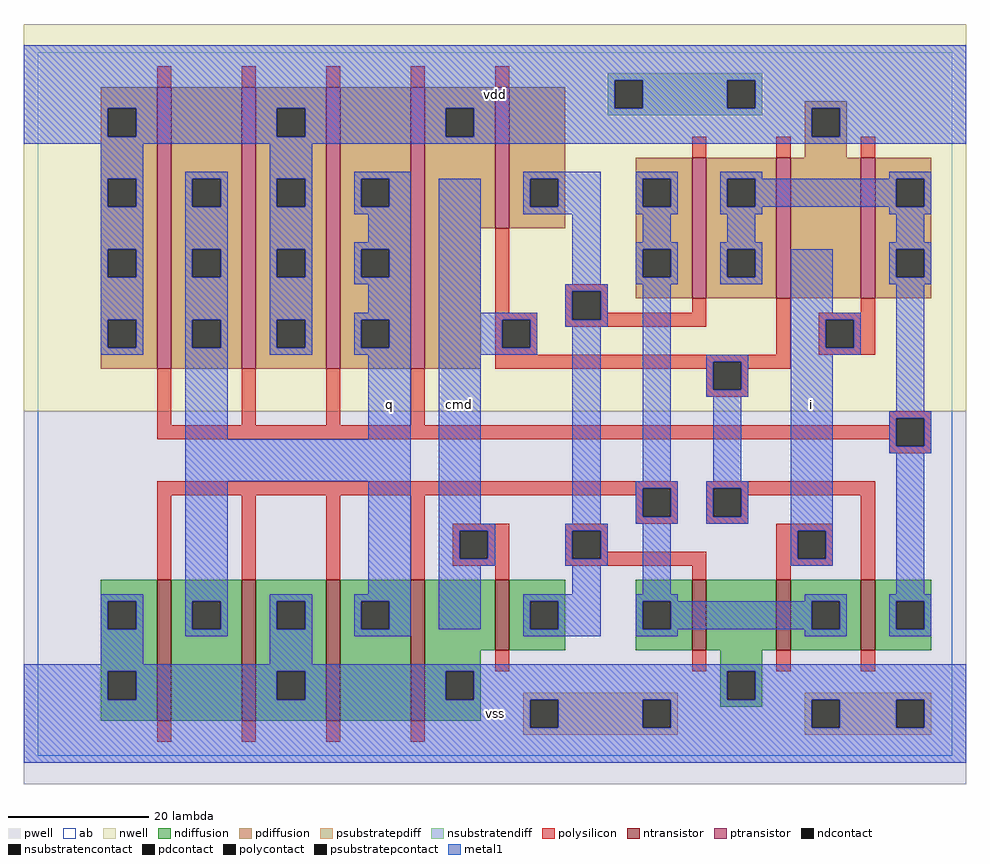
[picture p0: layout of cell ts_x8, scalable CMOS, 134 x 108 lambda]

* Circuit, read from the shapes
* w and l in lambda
.subckt ts_x8 cmd i q vdd vss
M1 q n1 vss vss nfet w=20 l=2 m=4
M2 n2 cmd vss vss nfet w=10 l=2
M3 vss n2 n1 vss nfet w=10 l=2
M4 n1 i vss vss nfet w=10 l=2
M5 n3 cmd n1 vss nfet w=10 l=2
M6 q n3 vdd vdd pfet w=40 l=2 m=4
M7 n2 cmd vdd vdd pfet w=20 l=2
M8 n3 n2 n1 vdd pfet w=20 l=2
M9 vdd cmd n3 vdd pfet w=20 l=2
M10 n3 i vdd vdd pfet w=20 l=2
.ends

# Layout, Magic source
magic
tech scmos
<< ab >>
rect 0 0 130 100
<< pwell >>
rect -2 -4 132 49
<< nwell >>
rect -2 49 132 104
<< polysilicon >>
rect 17 95 19 98
rect 29 95 31 98
rect 41 95 43 98
rect 53 95 55 98
rect 65 95 67 98
rect 93 85 95 88
rect 105 85 107 88
rect 117 85 119 88
rect 65 63 67 75
rect 75 66 81 67
rect 65 62 71 63
rect 65 58 66 62
rect 70 58 71 62
rect 75 62 76 66
rect 80 63 81 66
rect 93 63 95 65
rect 80 62 95 63
rect 75 61 95 62
rect 65 57 71 58
rect 105 57 107 65
rect 117 63 119 65
rect 111 62 119 63
rect 111 58 112 62
rect 116 58 119 62
rect 111 57 119 58
rect 65 56 107 57
rect 65 55 96 56
rect 17 47 19 55
rect 29 47 31 55
rect 41 47 43 55
rect 53 47 55 55
rect 95 52 96 55
rect 100 55 107 56
rect 100 52 101 55
rect 95 51 101 52
rect 121 48 127 49
rect 121 47 122 48
rect 17 45 122 47
rect 121 44 122 45
rect 126 44 127 48
rect 121 43 127 44
rect 17 38 91 39
rect 17 37 86 38
rect 17 25 19 37
rect 29 25 31 37
rect 41 25 43 37
rect 53 25 55 37
rect 85 34 86 37
rect 90 34 91 38
rect 85 33 91 34
rect 95 38 119 39
rect 95 34 96 38
rect 100 37 119 38
rect 100 34 101 37
rect 95 33 101 34
rect 59 32 67 33
rect 59 28 60 32
rect 64 28 67 32
rect 59 27 67 28
rect 75 32 81 33
rect 75 28 76 32
rect 80 29 81 32
rect 105 32 113 33
rect 80 28 95 29
rect 75 27 95 28
rect 65 25 67 27
rect 93 25 95 27
rect 105 28 108 32
rect 112 28 113 32
rect 105 27 113 28
rect 105 25 107 27
rect 117 25 119 37
rect 65 12 67 15
rect 93 12 95 15
rect 105 12 107 15
rect 117 12 119 15
rect 17 2 19 5
rect 29 2 31 5
rect 41 2 43 5
rect 53 2 55 5
<< ndiffusion >>
rect 9 22 17 25
rect 9 18 10 22
rect 14 18 17 22
rect 9 12 17 18
rect 9 8 10 12
rect 14 8 17 12
rect 9 5 17 8
rect 19 22 29 25
rect 19 18 22 22
rect 26 18 29 22
rect 19 5 29 18
rect 31 22 41 25
rect 31 18 34 22
rect 38 18 41 22
rect 31 12 41 18
rect 31 8 34 12
rect 38 8 41 12
rect 31 5 41 8
rect 43 22 53 25
rect 43 18 46 22
rect 50 18 53 22
rect 43 5 53 18
rect 55 15 65 25
rect 67 22 75 25
rect 67 18 70 22
rect 74 18 75 22
rect 67 15 75 18
rect 85 22 93 25
rect 85 18 86 22
rect 90 18 93 22
rect 85 15 93 18
rect 95 15 105 25
rect 107 22 117 25
rect 107 18 110 22
rect 114 18 117 22
rect 107 15 117 18
rect 119 22 127 25
rect 119 18 122 22
rect 126 18 127 22
rect 119 15 127 18
rect 55 12 63 15
rect 97 12 103 15
rect 55 8 58 12
rect 62 8 63 12
rect 55 5 63 8
rect 97 8 98 12
rect 102 8 103 12
rect 97 7 103 8
<< pdiffusion >>
rect 9 92 17 95
rect 9 88 10 92
rect 14 88 17 92
rect 9 82 17 88
rect 9 78 10 82
rect 14 78 17 82
rect 9 72 17 78
rect 9 68 10 72
rect 14 68 17 72
rect 9 62 17 68
rect 9 58 10 62
rect 14 58 17 62
rect 9 55 17 58
rect 19 82 29 95
rect 19 78 22 82
rect 26 78 29 82
rect 19 72 29 78
rect 19 68 22 72
rect 26 68 29 72
rect 19 62 29 68
rect 19 58 22 62
rect 26 58 29 62
rect 19 55 29 58
rect 31 92 41 95
rect 31 88 34 92
rect 38 88 41 92
rect 31 82 41 88
rect 31 78 34 82
rect 38 78 41 82
rect 31 72 41 78
rect 31 68 34 72
rect 38 68 41 72
rect 31 62 41 68
rect 31 58 34 62
rect 38 58 41 62
rect 31 55 41 58
rect 43 82 53 95
rect 43 78 46 82
rect 50 78 53 82
rect 43 72 53 78
rect 43 68 46 72
rect 50 68 53 72
rect 43 62 53 68
rect 43 58 46 62
rect 50 58 53 62
rect 43 55 53 58
rect 55 92 65 95
rect 55 88 58 92
rect 62 88 65 92
rect 55 75 65 88
rect 67 82 75 95
rect 109 92 115 93
rect 109 88 110 92
rect 114 88 115 92
rect 109 85 115 88
rect 67 78 70 82
rect 74 78 75 82
rect 67 75 75 78
rect 85 82 93 85
rect 85 78 86 82
rect 90 78 93 82
rect 55 55 63 75
rect 85 72 93 78
rect 85 68 86 72
rect 90 68 93 72
rect 85 65 93 68
rect 95 82 105 85
rect 95 78 98 82
rect 102 78 105 82
rect 95 72 105 78
rect 95 68 98 72
rect 102 68 105 72
rect 95 65 105 68
rect 107 65 117 85
rect 119 82 127 85
rect 119 78 122 82
rect 126 78 127 82
rect 119 72 127 78
rect 119 68 122 72
rect 126 68 127 72
rect 119 65 127 68
<< metal1 >>
rect -2 96 132 101
rect -2 92 82 96
rect 86 92 98 96
rect 102 92 132 96
rect -2 88 10 92
rect 14 88 34 92
rect 38 88 58 92
rect 62 88 110 92
rect 114 88 132 92
rect -2 87 132 88
rect 9 82 15 87
rect 9 78 10 82
rect 14 78 15 82
rect 9 72 15 78
rect 9 68 10 72
rect 14 68 15 72
rect 9 62 15 68
rect 9 58 10 62
rect 14 58 15 62
rect 9 57 15 58
rect 21 82 27 83
rect 21 78 22 82
rect 26 78 27 82
rect 21 72 27 78
rect 21 68 22 72
rect 26 68 27 72
rect 21 62 27 68
rect 21 58 22 62
rect 26 58 27 62
rect 21 45 27 58
rect 33 82 39 87
rect 33 78 34 82
rect 38 78 39 82
rect 33 72 39 78
rect 45 82 53 83
rect 69 82 80 83
rect 45 78 46 82
rect 50 78 53 82
rect 45 77 53 78
rect 47 73 53 77
rect 33 68 34 72
rect 38 68 39 72
rect 33 62 39 68
rect 45 72 53 73
rect 45 68 46 72
rect 50 68 53 72
rect 45 67 53 68
rect 47 63 53 67
rect 33 58 34 62
rect 38 58 39 62
rect 33 57 39 58
rect 45 62 53 63
rect 45 58 46 62
rect 50 58 53 62
rect 45 57 53 58
rect 47 45 53 57
rect 21 39 53 45
rect 9 22 15 23
rect 9 18 10 22
rect 14 18 15 22
rect 9 13 15 18
rect 21 22 27 39
rect 47 23 53 39
rect 21 18 22 22
rect 26 18 27 22
rect 21 17 27 18
rect 33 22 39 23
rect 33 18 34 22
rect 38 18 39 22
rect 33 13 39 18
rect 45 22 53 23
rect 45 18 46 22
rect 50 18 53 22
rect 57 63 63 82
rect 69 78 70 82
rect 74 78 80 82
rect 69 77 80 78
rect 85 82 91 83
rect 85 78 86 82
rect 90 78 91 82
rect 85 77 91 78
rect 97 82 103 83
rect 121 82 127 83
rect 97 78 98 82
rect 102 78 122 82
rect 126 78 127 82
rect 97 77 103 78
rect 121 77 127 78
rect 76 67 80 77
rect 86 73 90 77
rect 98 73 102 77
rect 122 73 126 77
rect 85 72 91 73
rect 85 68 86 72
rect 90 68 91 72
rect 85 67 91 68
rect 97 72 103 73
rect 121 72 127 73
rect 97 68 98 72
rect 102 68 103 72
rect 97 67 103 68
rect 75 66 81 67
rect 57 62 71 63
rect 57 58 66 62
rect 70 58 71 62
rect 75 62 76 66
rect 80 62 81 66
rect 75 61 81 62
rect 57 57 71 58
rect 57 33 63 57
rect 76 33 80 61
rect 86 39 90 67
rect 107 63 113 72
rect 121 68 122 72
rect 126 68 127 72
rect 121 67 127 68
rect 107 62 117 63
rect 107 58 112 62
rect 116 58 117 62
rect 107 57 117 58
rect 95 56 101 57
rect 95 52 96 56
rect 100 52 101 56
rect 95 51 101 52
rect 96 39 100 51
rect 85 38 91 39
rect 85 34 86 38
rect 90 34 91 38
rect 85 33 91 34
rect 95 38 101 39
rect 95 34 96 38
rect 100 34 101 38
rect 95 33 101 34
rect 57 32 65 33
rect 57 28 60 32
rect 64 28 65 32
rect 57 27 65 28
rect 75 32 81 33
rect 75 28 76 32
rect 80 28 81 32
rect 75 27 81 28
rect 57 18 63 27
rect 76 23 80 27
rect 86 23 90 33
rect 107 32 113 57
rect 122 49 126 67
rect 121 48 127 49
rect 121 44 122 48
rect 126 44 127 48
rect 121 43 127 44
rect 107 28 108 32
rect 112 28 113 32
rect 107 27 113 28
rect 122 23 126 43
rect 69 22 80 23
rect 69 18 70 22
rect 74 18 80 22
rect 45 17 53 18
rect 69 17 80 18
rect 85 22 91 23
rect 109 22 115 23
rect 85 18 86 22
rect 90 18 110 22
rect 114 18 115 22
rect 85 17 91 18
rect 109 17 115 18
rect 121 22 127 23
rect 121 18 122 22
rect 126 18 127 22
rect 121 17 127 18
rect -2 12 132 13
rect -2 8 10 12
rect 14 8 34 12
rect 38 8 58 12
rect 62 8 98 12
rect 102 8 132 12
rect -2 4 70 8
rect 74 4 86 8
rect 90 4 110 8
rect 114 4 122 8
rect 126 4 132 8
rect -2 -1 132 4
<< ntransistor >>
rect 17 5 19 25
rect 29 5 31 25
rect 41 5 43 25
rect 53 5 55 25
rect 65 15 67 25
rect 93 15 95 25
rect 105 15 107 25
rect 117 15 119 25
<< ptransistor >>
rect 17 55 19 95
rect 29 55 31 95
rect 41 55 43 95
rect 53 55 55 95
rect 65 75 67 95
rect 93 65 95 85
rect 105 65 107 85
rect 117 65 119 85
<< polycontact >>
rect 66 58 70 62
rect 76 62 80 66
rect 112 58 116 62
rect 96 52 100 56
rect 122 44 126 48
rect 86 34 90 38
rect 96 34 100 38
rect 60 28 64 32
rect 76 28 80 32
rect 108 28 112 32
<< ndcontact >>
rect 10 18 14 22
rect 10 8 14 12
rect 22 18 26 22
rect 34 18 38 22
rect 34 8 38 12
rect 46 18 50 22
rect 70 18 74 22
rect 86 18 90 22
rect 110 18 114 22
rect 122 18 126 22
rect 58 8 62 12
rect 98 8 102 12
<< pdcontact >>
rect 10 88 14 92
rect 10 78 14 82
rect 10 68 14 72
rect 10 58 14 62
rect 22 78 26 82
rect 22 68 26 72
rect 22 58 26 62
rect 34 88 38 92
rect 34 78 38 82
rect 34 68 38 72
rect 34 58 38 62
rect 46 78 50 82
rect 46 68 50 72
rect 46 58 50 62
rect 58 88 62 92
rect 110 88 114 92
rect 70 78 74 82
rect 86 78 90 82
rect 86 68 90 72
rect 98 78 102 82
rect 98 68 102 72
rect 122 78 126 82
rect 122 68 126 72
<< psubstratepcontact >>
rect 70 4 74 8
rect 86 4 90 8
rect 110 4 114 8
rect 122 4 126 8
<< nsubstratencontact >>
rect 82 92 86 96
rect 98 92 102 96
<< psubstratepdiff >>
rect 69 8 91 9
rect 69 4 70 8
rect 74 4 86 8
rect 90 4 91 8
rect 109 8 127 9
rect 69 3 91 4
rect 109 4 110 8
rect 114 4 122 8
rect 126 4 127 8
rect 109 3 127 4
<< nsubstratendiff >>
rect 81 96 103 97
rect 81 92 82 96
rect 86 92 98 96
rect 102 92 103 96
rect 81 91 103 92
<< labels >>
rlabel metal1 50 50 50 50 6 q
rlabel metal1 60 50 60 50 6 cmd
rlabel metal1 60 50 60 50 6 cmd
rlabel metal1 50 50 50 50 6 q
rlabel metal1 65 6 65 6 6 vss
rlabel metal1 65 6 65 6 6 vss
rlabel metal1 65 94 65 94 6 vdd
rlabel metal1 65 94 65 94 6 vdd
rlabel metal1 110 50 110 50 6 i
rlabel metal1 110 50 110 50 6 i
<< end >>
